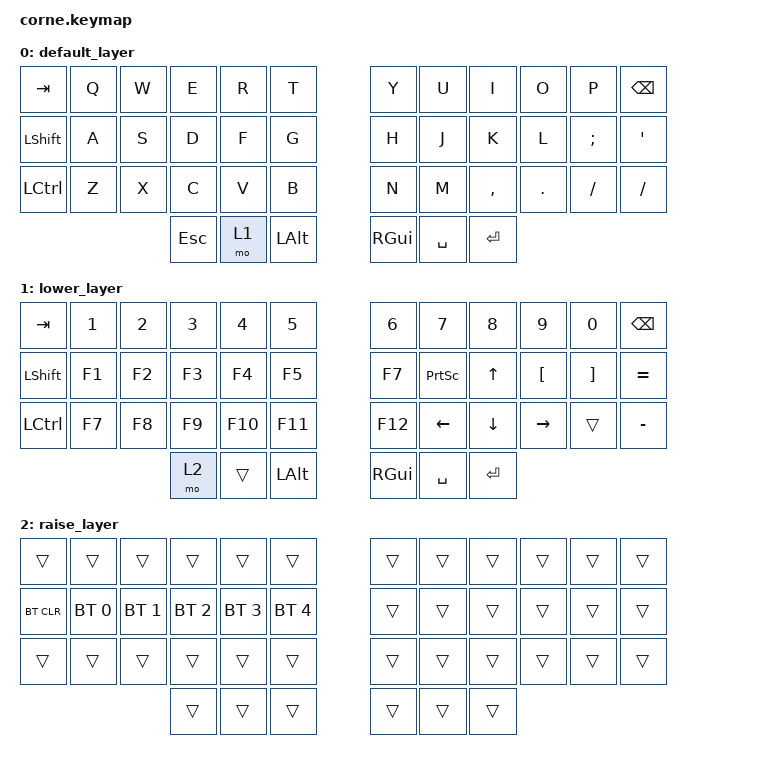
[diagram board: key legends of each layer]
/*
 * Copyright (c) 2020 The ZMK Contributors
 *
 * SPDX-License-Identifier: MIT
 */

#include <behaviors.dtsi>
#include <dt-bindings/zmk/keys.h>
#include <dt-bindings/zmk/bt.h>

/ {
        keymap {
                compatible = "zmk,keymap";

                default_layer {
// -----------------------------------------------------------------------------------------
// |  TAB |  Q  |  W  |  E  |  R  |  T  |   |  Y  |  U   |  I  |  O  |  P  | BKSP |
// | CTRL |  A  |  S  |  D  |  F  |  G  |   |  H  |  J   |  K  |  L  |  ;  |  '   |
// | SHFT |  Z  |  X  |  C  |  V  |  B  |   |  N  |  M   |  ,  |  .  |  /  | ESC  |
//                    | GUI | LWR | SPC |   | ENT | RSE  | ALT |
                        bindings = <
   &kp TAB   &kp Q &kp W &kp E &kp R &kp T   &kp Y &kp U  &kp I     &kp O   &kp P    &kp BSPC
   &kp LSHFT &kp A &kp S &kp D &kp F &kp G   &kp H &kp J  &kp K     &kp L   &kp SEMI &kp SQT
   &kp LCTRL &kp Z &kp X &kp C &kp V &kp B   &kp N &kp M  &kp COMMA &kp DOT &kp FSLH &kp FSLH
                  &kp ESC &mo 1 &kp LALT   &kp RGUI &kp SPACE &kp RET
                        >;
                };
                lower_layer {
// -----------------------------------------------------------------------------------------
// |  TAB |  1  |  2  |  3  |  4  |  5  |   |  6  |  7  |  8  |  9  |  0  | BKSP |
// | BTCLR| BT1 | BT2 | BT3 | BT4 | BT5 |   | LFT | DWN |  UP | RGT |     |      |
// | SHFT |     |     |     |     |     |   |     |     |     |     |     |      |
//                    | GUI |     | SPC |   | ENT |     | ALT |
                        bindings = <
   &kp TAB    &kp N1       &kp N2       &kp N3       &kp N4       &kp N5         &kp N6      &kp N7      &kp N8    &kp N9     &kp N0    &kp BSPC
   &kp LSHFT  &kp F1       &kp F2       &kp F3       &kp F4       &kp F5         &kp F7      &kp PSCRN   &kp UP    &kp LBKT   &kp RBKT  &kp EQUAL 
   &kp LCTRL  &kp F7       &kp F8       &kp F9       &kp F10      &kp F11        &kp F12     &kp LEFT    &kp DOWN  &kp RIGHT  &trans    &kp MINUS
                                    &mo 2     &trans       &kp LALT      &kp RGUI  &kp SPACE   &kp RET
                        >;
                };

                raise_layer {
// -----------------------------------------------------------------------------------------
// |  TAB |  !  |  @  |  #  |  $  |  %  |   |  ^  |  &  |  *  |  (  |  )  | BKSP |
// | CTRL |     |     |     |     |     |   |  -  |  =  |  [  |  ]  |  \  |  `   |
// | SHFT |     |     |     |     |     |   |  _  |  +  |  {  |  }  | "|" |  ~   |
//                    | GUI |     | SPC |   | ENT |     | ALT |
                        bindings = <
   &trans  &trans &trans &trans &trans &trans   &trans &trans  &trans &trans &trans &trans
   &bt BT_CLR &bt BT_SEL 0 &bt BT_SEL 1 &bt BT_SEL 2 &bt BT_SEL 3 &bt BT_SEL 4   &trans &trans &trans &trans &trans &trans
   &trans &trans   &trans &trans   &trans   &trans      &trans &trans  &trans  &trans &trans &trans
                             &trans &trans   &trans   &trans   &trans    &trans
                        >;
                };
        };
};
